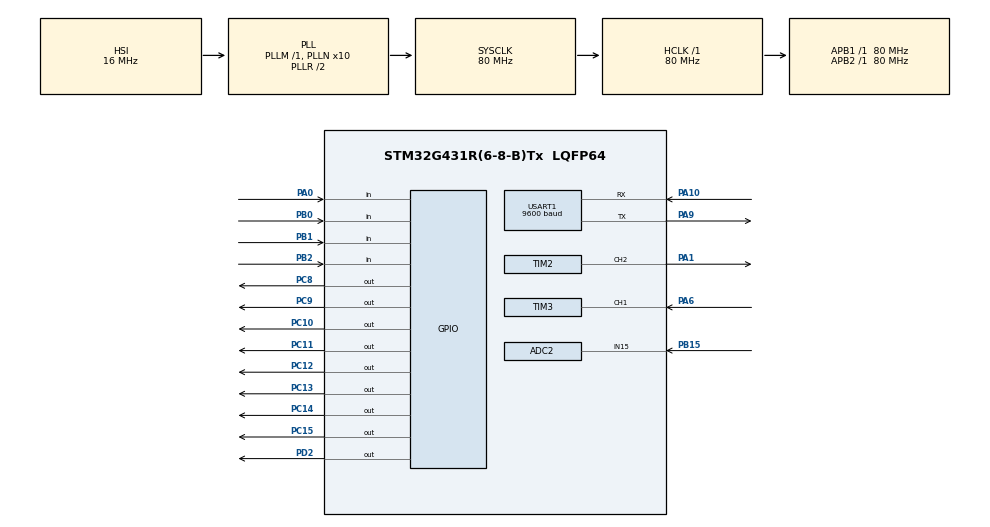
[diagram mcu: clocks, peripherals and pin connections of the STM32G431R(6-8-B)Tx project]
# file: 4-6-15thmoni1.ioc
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ADC2.Channel-1\#ChannelRegularConversion=ADC_CHANNEL_15
ADC2.ClockPrescaler=ADC_CLOCK_ASYNC_DIV128
ADC2.NbrOfConversionFlag=1
ADC2.OffsetNumber-1\#ChannelRegularConversion=ADC_OFFSET_NONE
ADC2.Rank-1\#ChannelRegularConversion=1
ADC2.SamplingTime-1\#ChannelRegularConversion=ADC_SAMPLETIME_2CYCLES_5
Mcu.Family=STM32G4
Mcu.Name=STM32G431R(6-8-B)Tx
Mcu.Package=LQFP64
NVIC.PriorityGroup=NVIC_PRIORITYGROUP_4
NVIC.TIM1_BRK_TIM15_IRQn=true\:0\:0\:false\:false\:true\:true\:true\:true
NVIC.TIM3_IRQn=true\:0\:0\:false\:false\:true\:true\:true\:true
NVIC.TIM7_IRQn=true\:0\:0\:false\:false\:true\:true\:true\:true
NVIC.USART1_IRQn=true\:0\:0\:false\:false\:true\:true\:true\:true
PA0.GPIO_Mode=GPIO_MODE_INPUT
PA0.GPIO_PuPd=GPIO_PULLUP
PA0.Signal=GPIO_Input
PA1.Signal=S_TIM2_CH2
PA10.Mode=Asynchronous
PA10.Signal=USART1_RX
PA13.Mode=Serial_Wire
PA13.Signal=SYS_JTMS-SWDIO
PA14.Mode=Serial_Wire
PA14.Signal=SYS_JTCK-SWCLK
PA6.Signal=S_TIM3_CH1
PA9.Mode=Asynchronous
PA9.Signal=USART1_TX
PB0.GPIO_Mode=GPIO_MODE_INPUT
PB0.GPIO_PuPd=GPIO_PULLUP
PB0.Signal=GPIO_Input
PB1.GPIO_Mode=GPIO_MODE_INPUT
PB1.GPIO_PuPd=GPIO_PULLUP
PB1.Signal=GPIO_Input
PB15.Mode=IN15-Single-Ended
PB15.Signal=ADC2_IN15
PB2.GPIO_Mode=GPIO_MODE_INPUT
PB2.GPIO_PuPd=GPIO_PULLUP
PB2.Signal=GPIO_Input
PC10.PinState=GPIO_PIN_SET
PC10.Signal=GPIO_Output
PC11.PinState=GPIO_PIN_SET
PC11.Signal=GPIO_Output
PC12.PinState=GPIO_PIN_SET
PC12.Signal=GPIO_Output
PC13.PinState=GPIO_PIN_SET
PC13.Signal=GPIO_Output
PC14-OSC32_IN.PinState=GPIO_PIN_SET
PC14-OSC32_IN.Signal=GPIO_Output
PC15-OSC32_OUT.PinState=GPIO_PIN_SET
PC15-OSC32_OUT.Signal=GPIO_Output
PC8.PinState=GPIO_PIN_SET
PC8.Signal=GPIO_Output
PC9.PinState=GPIO_PIN_SET
PC9.Signal=GPIO_Output
PD2.PinState=GPIO_PIN_SET
PD2.Signal=GPIO_Output
PF0-OSC_IN.Mode=HSE-External-Oscillator
PF0-OSC_IN.Signal=RCC_OSC_IN
PF1-OSC_OUT.Mode=HSE-External-Oscillator
PF1-OSC_OUT.Signal=RCC_OSC_OUT
ProjectManager.HeapSize=0x200
ProjectManager.StackSize=0x400
ProjectManager.TargetToolchain=MDK-ARM V5.32
RCC.ADC12Freq_Value=80000000
RCC.AHBFreq_Value=80000000
RCC.APB1Freq_Value=80000000
RCC.APB1TimFreq_Value=80000000
RCC.APB2Freq_Value=80000000
RCC.APB2TimFreq_Value=80000000
RCC.CortexFreq_Value=80000000
RCC.EXTERNAL_CLOCK_VALUE=12288000
RCC.HCLKFreq_Value=80000000
RCC.HSE_VALUE=24000000
RCC.HSI48_VALUE=48000000
RCC.HSI_VALUE=16000000
RCC.LSE_VALUE=32768
RCC.PLLN=10
RCC.SYSCLKFreq_VALUE=80000000
RCC.SYSCLKSource=RCC_SYSCLKSOURCE_PLLCLK
RCC.USBFreq_Value=80000000
RCC.VCOOutputFreq_Value=160000000
SH.S_TIM2_CH2.0=TIM2_CH2,PWM Generation2 CH2
SH.S_TIM3_CH1.0=TIM3_CH1,Input_Capture1_from_TI1
TIM15.PeriodNoDither=1000-1
TIM15.Prescaler=800-1
TIM2.Channel-PWM\ Generation2\ CH2=TIM_CHANNEL_2
TIM2.PeriodNoDither=1000-1
TIM2.Prescaler=80-1
TIM3.Channel-Input_Capture1_from_TI1=TIM_CHANNEL_1
TIM3.Channel-Input_Capture2_from_TI1_63=TIM_CHANNEL_2
TIM3.ICPolarity_CH1=TIM_INPUTCHANNELPOLARITY_FALLING
TIM3.Prescaler=80-1
TIM7.PeriodNoDither=1000-1
TIM7.Prescaler=80-1
USART1.BaudRate=9600
USART1.VirtualMode-Asynchronous=VM_ASYNC
VP_SYS_VS_DBSignals.Mode=DisableDeadBatterySignals
VP_TIM15_VS_ClockSourceINT.Mode=Internal
VP_TIM3_VS_indirect_ch1.Mode=Input_Capture2_from_TI1_63
VP_TIM7_VS_ClockSourceINT.Mode=Enable_Timer
board=custom

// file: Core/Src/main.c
/* USER CODE BEGIN Header */
/**
  ******************************************************************************
  * @file           : main.c
  * @brief          : Main program body
  ******************************************************************************
  * @attention
  *
  * Copyright (c) 2025 STMicroelectronics.
  * All rights reserved.
  *
  * This software is licensed under terms that can be found in the LICENSE file
  * in the root directory of this software component.
  * If no LICENSE file comes with this software, it is provided AS-IS.
  *
  ******************************************************************************
  */
/* USER CODE END Header */
#include "main.h"
#include "adc.h"
#include "tim.h"
#include "usart.h"
#include "gpio.h"

/* USER CODE BEGIN Includes */
#include "headfile.h"
/* USER CODE END Includes */

void SystemClock_Config(void);

int main(void)
{

  /* MCU Configuration--------------------------------------------------------*/

  /* Reset of all peripherals, Initializes the Flash interface and the Systick. */
  HAL_Init();

  /* Configure the system clock */
  SystemClock_Config();

  /* Initialize all configured peripherals */
  MX_GPIO_Init();
  MX_ADC2_Init();
  MX_TIM2_Init();
  MX_TIM3_Init();
  MX_TIM7_Init();
  MX_TIM15_Init();
  MX_USART1_UART_Init();
  /* USER CODE BEGIN 2 */
  HAL_GPIO_WritePin(GPIOD, GPIO_PIN_2, GPIO_PIN_RESET);
  led_show(1,0);
  led_show(2,0);
  led_show(3,0);
  led_show(4,0);
  led_show(5,0);
  led_show(6,0);
  led_show(7,0);
  led_show(8,0);

  led_show(1,1);

  HAL_TIM_Base_Start_IT(&htim7);

  HAL_ADCEx_Calibration_Start(&hadc2,ADC_SINGLE_ENDED);

  HAL_UART_Receive_IT(&huart1,&rx_data,1);

  __HAL_TIM_SetAutoreload(&htim2, (80000000/(80*(2000)))-1);
  __HAL_TIM_SetCompare(&htim2,TIM_CHANNEL_2,(80000000/(80*(2000)))*0.24-1);
  __HAL_TIM_SetCounter(&htim2,0);
  HAL_TIM_PWM_Start(&htim2,TIM_CHANNEL_2);

  HAL_TIM_OC_Start_IT(&htim3, TIM_CHANNEL_1);
  HAL_TIM_OC_Start_IT(&htim3, TIM_CHANNEL_2);

  LCD_Init();
  LCD_Clear(Black);
  LCD_SetBackColor(Black);
  LCD_SetTextColor(White);

  /* USER CODE END 2 */

  /* Infinite loop */
  /* USER CODE BEGIN WHILE */
  while (1)
  {
    while_fun();
    /* USER CODE END WHILE */

  }
}

void SystemClock_Config(void)
{
  RCC_OscInitTypeDef RCC_OscInitStruct = {0};
  RCC_ClkInitTypeDef RCC_ClkInitStruct = {0};

  /** Configure the main internal regulator output voltage
  */
  HAL_PWREx_ControlVoltageScaling(PWR_REGULATOR_VOLTAGE_SCALE1);

  /** Initializes the RCC Oscillators according to the specified parameters
  * in the RCC_OscInitTypeDef structure.
  */
  RCC_OscInitStruct.OscillatorType = RCC_OSCILLATORTYPE_HSI;
  RCC_OscInitStruct.HSIState = RCC_HSI_ON;
  RCC_OscInitStruct.HSICalibrationValue = RCC_HSICALIBRATION_DEFAULT;
  RCC_OscInitStruct.PLL.PLLState = RCC_PLL_ON;
  RCC_OscInitStruct.PLL.PLLSource = RCC_PLLSOURCE_HSI;
  RCC_OscInitStruct.PLL.PLLM = RCC_PLLM_DIV1;
  RCC_OscInitStruct.PLL.PLLN = 10;
  RCC_OscInitStruct.PLL.PLLP = RCC_PLLP_DIV2;
  RCC_OscInitStruct.PLL.PLLQ = RCC_PLLQ_DIV2;
  RCC_OscInitStruct.PLL.PLLR = RCC_PLLR_DIV2;
  if (HAL_RCC_OscConfig(&RCC_OscInitStruct) != HAL_OK)
  {
    Error_Handler();
  }

  /** Initializes the CPU, AHB and APB buses clocks
  */
  RCC_ClkInitStruct.ClockType = RCC_CLOCKTYPE_HCLK|RCC_CLOCKTYPE_SYSCLK
                              |RCC_CLOCKTYPE_PCLK1|RCC_CLOCKTYPE_PCLK2;
  RCC_ClkInitStruct.SYSCLKSource = RCC_SYSCLKSOURCE_PLLCLK;
  RCC_ClkInitStruct.AHBCLKDivider = RCC_SYSCLK_DIV1;
  RCC_ClkInitStruct.APB1CLKDivider = RCC_HCLK_DIV1;
  RCC_ClkInitStruct.APB2CLKDivider = RCC_HCLK_DIV1;

  if (HAL_RCC_ClockConfig(&RCC_ClkInitStruct, FLASH_LATENCY_2) != HAL_OK)
  {
    Error_Handler();
  }
}

void Error_Handler(void)
{
  __disable_irq();
  while (1)
  {
  }
}
